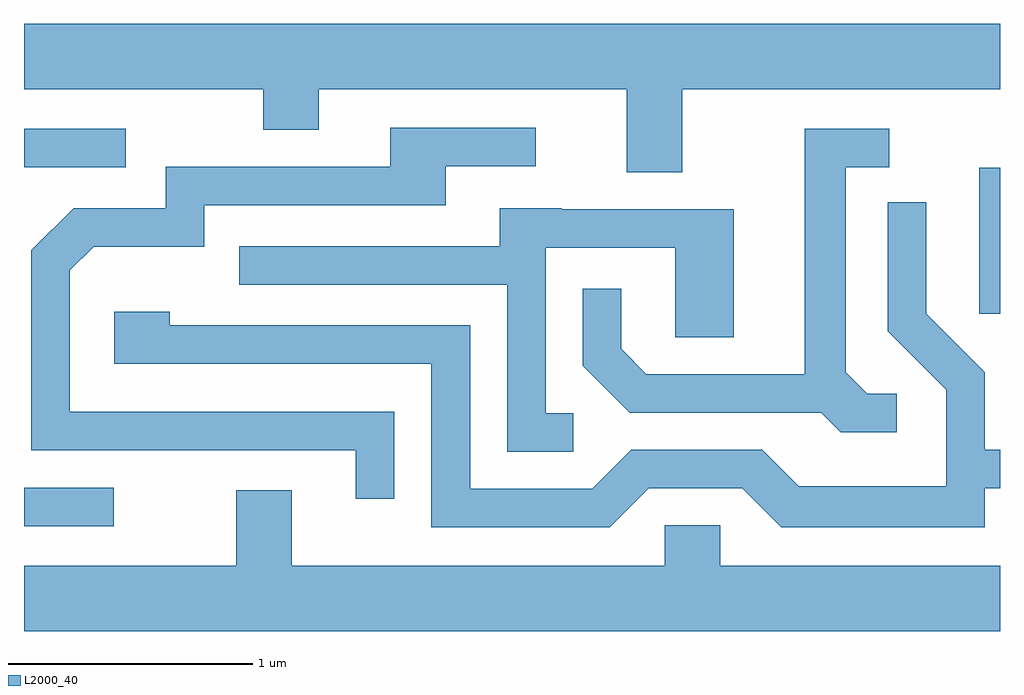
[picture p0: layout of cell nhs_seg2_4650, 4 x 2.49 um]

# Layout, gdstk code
import gdstk
lib = gdstk.Library(unit=1e-6, precision=1e-09)
def R(c, l, rs):  # rectangles x0, y0, x1, y1
    for r in rs: c.add(gdstk.rectangle(r[:2], r[2:], *l))
def P(c, l, *ps):  # polygons
    for p in ps: c.add(gdstk.Polygon(p, *l))
L2000_40 = (2000, 40)

nhs_seg2_4650 = lib.new_cell('nhs_seg2_4650')
R(nhs_seg2_4650, L2000_40, [(321.611,1070.946,321.978,1071.104), (325.526,1071.816,325.611,1072.414), (321.611,1072.416,322.028,1072.574)])
P(nhs_seg2_4650, L2000_40, [(324.309,1072.736),(325.611,1072.736),(325.611,1073.004),(321.611,1073.004),(321.611,1072.736),(322.591,1072.736),(322.591,1072.571),(322.819,1072.571),(322.819,1072.736),(324.081,1072.736),(324.081,1072.396),(324.309,1072.396)],
  [(323.129,1071.414),(321.799,1071.414),(321.799,1071.994),(321.897,1072.091),(322.349,1072.091),(322.349,1072.261),(323.339,1072.261),(323.339,1072.421),(323.708,1072.421),(323.708,1072.579),(323.111,1072.579),(323.111,1072.419),(322.191,1072.419),(322.191,1072.249),(321.814,1072.249),(321.641,1072.077),(321.641,1071.256),(322.971,1071.256),(322.971,1071.058),(323.129,1071.058)],
  [(325.188,1071.489),(325.067,1071.489),(324.979,1071.577),(324.979,1072.416),(325.158,1072.416),(325.158,1072.574),(324.811,1072.574),(324.811,1071.569),(324.162,1071.569),(324.059,1071.672),(324.059,1071.918),(323.901,1071.918),(323.901,1071.604),(324.094,1071.411),(324.879,1071.411),(324.959,1071.331),(325.188,1071.331)],
  [(324.172,1071.101),(324.554,1071.101),(324.714,1070.941),(325.549,1070.941),(325.549,1071.101),(325.611,1071.101),(325.611,1071.259),(325.549,1071.259),(325.549,1071.577),(325.309,1071.817),(325.309,1072.273),(325.151,1072.273),(325.151,1071.744),(325.391,1071.504),(325.391,1071.109),(324.787,1071.109),(324.637,1071.259),(324.099,1071.259),(323.939,1071.099),(323.439,1071.099),(323.439,1071.769),(322.209,1071.769),(322.209,1071.824),(321.981,1071.824),(321.981,1071.611),(323.281,1071.611),(323.281,1070.941),(324.012,1070.941)],
  [(323.863,1071.409),(323.749,1071.409),(323.749,1072.086),(324.281,1072.086),(324.281,1071.721),(324.519,1071.721),(324.519,1072.244),(323.815,1072.244),(323.815,1072.249),(323.561,1072.249),(323.561,1072.094),(322.493,1072.094),(322.493,1071.936),(323.591,1071.936),(323.591,1071.251),(323.863,1071.251)],
  [(325.611,1070.784),(324.464,1070.784),(324.464,1070.949),(324.236,1070.949),(324.236,1070.784),(322.709,1070.784),(322.709,1071.094),(322.481,1071.094),(322.481,1070.784),(321.611,1070.784),(321.611,1070.516),(325.611,1070.516)])

lib.write_gds('nhs_seg2_4650.gds')
